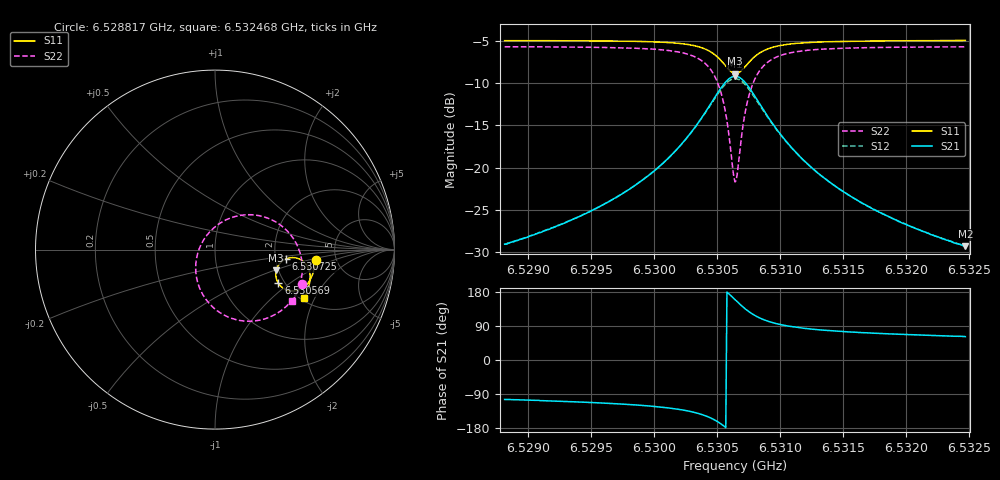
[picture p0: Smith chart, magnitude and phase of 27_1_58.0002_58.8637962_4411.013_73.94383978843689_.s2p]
#  HZ  S  RI  R  50.00
! Rohde & Schwarz Vector Network Analyzer
! Rohde-Schwarz,ZNB20-2Port,1311601062101988,3.16
! Created: UTC 3/21/2024, 12:51:25 AM
! freq[Hz]  re:S11  im:S11  re:S21  im:S21  re:S12  im:S12  re:S22  im:S22
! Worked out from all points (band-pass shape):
!   401 points, 6.528817 GHz to 6.532468 GHz, reference 50 ohm
!   highest |S21| = -9.18 dB at 6.530642 GHz (marker M1); lowest = -29.3 dB at 6.532468 GHz (marker M2)
!   |S21| within 3 dB of the highest: 6.530461 GHz to 6.530826 GHz (365.1 kHz wide, 0.00559 % of centre)
!   lowest |S11| = -8.9 dB at 6.530642 GHz (marker M3), VSWR 2.13, Z = 97.4 - j25.6 ohm
!   |S11| at or under -10 dB: nowhere
!   |S22| runs from -21.7 to -5.7 dB; largest |S21 - S12| = 0.015
!   S11 on the Smith chart (normalised r, x): 6.528817 GHz: 3.47, -0.60; 6.530569 GHz: 1.85, -0.82; 6.530725 GHz: 2.28, -0.28; 6.532468 GHz: 2.09, -1.66
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6.5288172e9  0.5609 -0.0589  -0.00854 -0.0342  -0.00925 -0.034  0.4823 -0.1918
6.5294286e9  0.5514 -0.112  -0.0188 -0.0486  -0.0201 -0.0482  0.4493 -0.2537
6.5297754e9  0.5403 -0.1469  -0.0326 -0.0642  -0.0344 -0.0635  0.4136 -0.2996
6.5300401e9  0.5237 -0.1787  -0.0561 -0.0842  -0.0586 -0.0824  0.3608 -0.3455
6.53025e9  0.4955 -0.2095  -0.1004 -0.107  -0.1037 -0.1032  0.271 -0.3878
6.5304142e9  0.4436 -0.2306  -0.1838 -0.115  -0.1862 -0.1066  0.1184 -0.3905
6.5305055e9  0.3918 -0.2216  -0.2649 -0.0814  -0.2631 -0.0694  -0.0159 -0.3169
6.530542e9  0.3683 -0.2056  -0.2997 -0.0467  -0.2949 -0.0341  -0.0678 -0.2509
6.5305694e9  0.3529 -0.1868  -0.3216 -0.00961  -0.3134 0.0022  -0.0961 -0.1844
6.5306241e9  0.3388 -0.1338  -0.3339 0.0873  -0.321 0.0941  -0.0967 -0.022
6.5306424e9  0.3415 -0.1143  -0.3254 0.1216  -0.3118 0.1256  -0.0758 0.032
6.5306606e9  0.3485 -0.0959  -0.3101 0.1534  -0.2966 0.155  -0.0445 0.0811
6.5306971e9  0.372 -0.0661  -0.2643 0.2035  -0.2529 0.2011  0.0398 0.1543
6.5307245e9  0.3943 -0.0523  -0.2234 0.226  -0.2143 0.222  0.1114 0.1842
6.5307519e9  0.4171 -0.0456  -0.1828 0.2367  -0.1759 0.2321  0.1804 0.1944
6.5307884e9  0.4449 -0.0453  -0.1349 0.2368  -0.1304 0.2324  0.261 0.1857
6.5308796e9  0.4916 -0.0657  -0.0555 0.2052  -0.0536 0.2028  0.3907 0.1155
6.5310165e9  0.5204 -0.1035  -0.00661 0.1524  -0.00552 0.1515  0.4646 0.00839
6.5312538e9  0.5302 -0.1505  0.0148 0.0983  0.016 0.0979  0.4865 -0.1042
6.5315458e9  0.5265 -0.1889  0.0188 0.066  0.0198 0.0657  0.4777 -0.1779
6.5318653e9  0.5176 -0.2208  0.0185 0.0475  0.0191 0.0473  0.462 -0.2274
6.5324676e9  0.497 -0.2697  0.0162 0.0302  0.0167 0.03  0.4305 -0.2886
